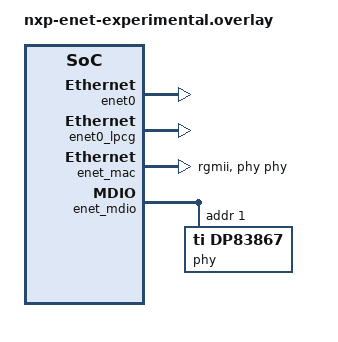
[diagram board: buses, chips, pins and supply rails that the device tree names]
/*
 * Copyright 2023 NXP
 *
 * Experimental ENET binding overlay
 */


&enet0 {
	status = "okay";
	power-domain = <&pd_domain>;
};

&enet0_lpcg {
	status = "okay";
	power-domain = <&pd_domain>;
};

&enet_mac {
	status = "okay";
	pinctrl-0 = <&pinmux_enet>;
	pinctrl-names = "default";
	phy-handle = <&phy>;
	zephyr,random-mac-address;
	phy-connection-type = "rgmii";
};

&enet_mdio {
	status = "okay";
	pinctrl-0 = <&pinmux_enet_mdio>;
	pinctrl-names = "default";
	phy: phy@1 {
		compatible = "ti,dp83867";
		reg = <1>;
		status = "okay";
		ti,interface-type = "rgmii-id";
		ti,rx-internal-delay = <DP83867_RGMIIDCTL_2_00_NS>;
		ti,tx-internal-delay = <DP83867_RGMIIDCTL_2_00_NS>;
		ti,fifo-depth = <DP83867_PHYCR_FIFO_DEPTH_8_B_NIB>;
		ti,enet-phy-lane-no-swap;
		ti,led0-active-low;
		ti,led2-active-low;
	};
};

&enet_ptp_clock {
	status = "okay";
	pinctrl-0 = <&pinmux_ptp>;
	pinctrl-names = "default";
};
